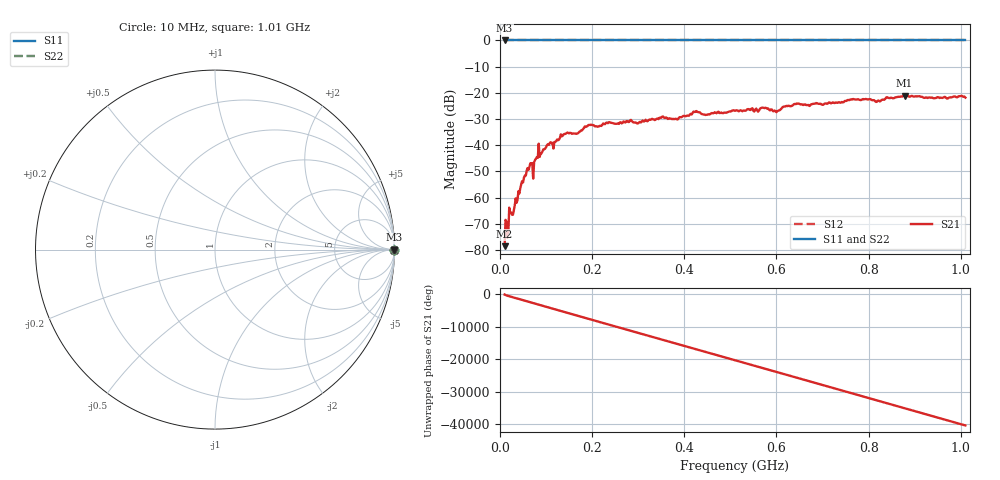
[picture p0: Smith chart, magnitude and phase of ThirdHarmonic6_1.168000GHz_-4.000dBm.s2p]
! 8/16/2025 11:47:12 AM
! C:\ANRITSUVNA\TEMP\TEMP.S2P
! CHANNEL.1
! TR.MEASUREMENT
! RAW.DATA
! RF.CORRECTION.OFF
! AVERAGING.OFF
! IF.BANDWIDTH: 5KHZ
! SWEEPTYPE:  FREQ.SWEEP(Linear)
! Reference Plane Port Info
! PORT:  PORT1  PORT2
! DISTANCE:  0  m  0  m
! TIME:  0  s  0  s
! PHASE.OFFSET:  0  deg.  0  deg.
! LOSS:  0  dB  0  dB
! REF.LOSS:  0  dB  0  dB
! REF.FREQ:  0  Hz  0  Hz
! Power Info
! POWER:  -20  dBm  -20  dBm
! EFF.POWER:  -20  dBm  -20  dBm
! SOURCE.ATTEN:  0  dB  0  dB
! TEST.ATTEN:  0  dB  0  dB
# GHZ S RI R 50.0
! FREQ.GHZ  S11RE  S11IM  S21RE  S21IM  S12RE  S12IM  S22RE  S22IM
!; PortSelection: Port_12
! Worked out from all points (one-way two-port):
!   501 points, 10 MHz to 1.01 GHz, reference 50 ohm
!   highest |S21| = -21.06 dB at 878 MHz (marker M1); lowest = -78.6 dB at 10 MHz (marker M2)
!   lowest |S11| = 0.0 dB at 10 MHz (marker M3)
!   |S11| at or under -10 dB: nowhere
!   |S22| runs from 0.0 to 0.0 dB; largest |S21 - S12| = 1.1
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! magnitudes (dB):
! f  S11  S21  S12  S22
! 10 MHz  0.0  -78.6  0.0  0.0
! 24 MHz  0.0  -65.8  0.0  0.0
! 28 MHz  0.0  -66.6  0.0  0.0
! 50 MHz  0.0  -54.2  0.0  0.0
! 64 MHz  0.0  -48.1  0.0  0.0
! 76 MHz  0.0  -45.7  0.0  0.0
! 80 MHz  0.0  -44.5  0.0  0.0
! 136 MHz  0.0  -36.4  0.0  0.0
! 178 MHz  0.0  -34.3  0.0  0.0
! 196 MHz  0.0  -32.3  0.0  0.0
! 344 MHz  0.0  -30.1  0.0  0.0
! 382 MHz  0.0  -29.9  0.0  0.0
! 424 MHz  0.0  -27.3  0.0  0.0
! 446 MHz  0.0  -28.5  0.0  0.0
! 510 MHz  0.0  -26.9  0.0  0.0
! 572 MHz  0.0  -25.7  0.0  0.0
! 598 MHz  0.0  -27.1  0.0  0.0
! 642 MHz  0.0  -24.3  0.0  0.0
! 678 MHz  0.0  -24.3  0.0  0.0
! 844 MHz  0.0  -22.0  0.0  0.0
! 878 MHz  0.0  -21.1  0.0  0.0
! 1.01 GHz  0.0  -21.8  0.0  0.0
